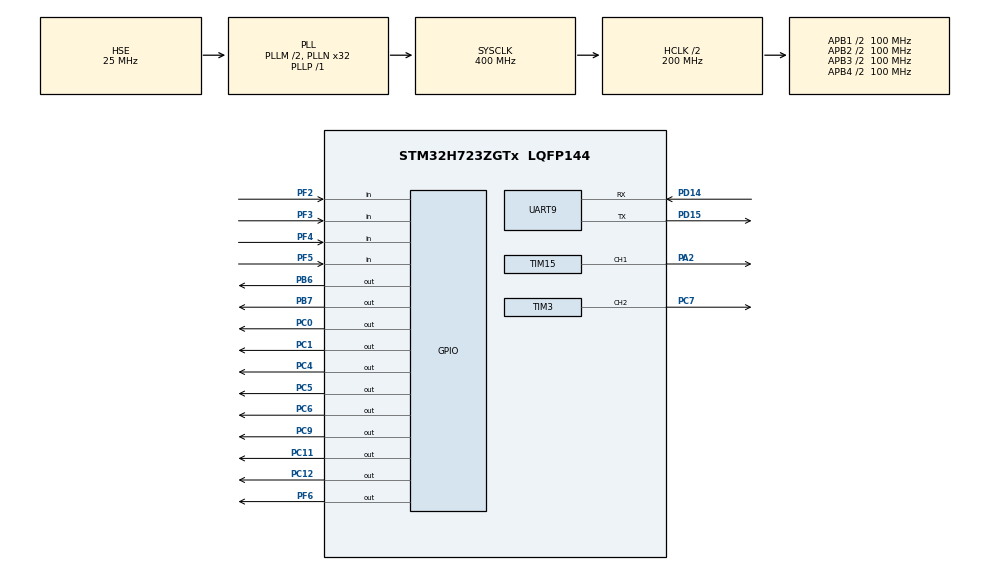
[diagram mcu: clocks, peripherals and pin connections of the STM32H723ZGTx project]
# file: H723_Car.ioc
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Mcu.Family=STM32H7
Mcu.Name=STM32H723ZGTx
Mcu.Package=LQFP144
NVIC.PriorityGroup=NVIC_PRIORITYGROUP_4
NVIC.TIM15_IRQn=true\:0\:0\:false\:false\:true\:true\:true\:true
NVIC.TIM23_IRQn=true\:0\:0\:true\:false\:true\:true\:true\:true
NVIC.TIM24_IRQn=true\:1\:0\:true\:false\:true\:true\:true\:true
NVIC.TIM3_IRQn=true\:0\:0\:false\:false\:true\:true\:true\:true
NVIC.UART9_IRQn=true\:0\:0\:false\:false\:true\:true\:true\:true
PA13(JTMS/SWDIO).Mode=Serial_Wire
PA13(JTMS/SWDIO).Signal=DEBUG_JTMS-SWDIO
PA14(JTCK/SWCLK).Mode=Serial_Wire
PA14(JTCK/SWCLK).Signal=DEBUG_JTCK-SWCLK
PA2.Signal=S_TIM15_CH1
PB6.Signal=GPIO_Output
PB7.PinState=GPIO_PIN_SET
PB7.Signal=GPIO_Output
PC0.Signal=GPIO_Output
PC1.PinState=GPIO_PIN_RESET
PC1.Signal=GPIO_Output
PC11.Signal=GPIO_Output
PC12.Signal=GPIO_Output
PC4.Signal=GPIO_Output
PC5.Signal=GPIO_Output
PC6.Signal=GPIO_Output
PC7.Signal=S_TIM3_CH2
PC9.PinState=GPIO_PIN_SET
PC9.Signal=GPIO_Output
PD14.Mode=Asynchronous
PD14.Signal=UART9_RX
PD15.Mode=Asynchronous
PD15.Signal=UART9_TX
PF2.Signal=GPIO_Input
PF3.Signal=GPIO_Input
PF4.Signal=GPIO_Input
PF5.Signal=GPIO_Input
PF6.Signal=GPIO_Output
PH0-OSC_IN.Mode=HSE-External-Oscillator
PH0-OSC_IN.Signal=RCC_OSC_IN
PH1-OSC_OUT.Mode=HSE-External-Oscillator
PH1-OSC_OUT.Signal=RCC_OSC_OUT
ProjectManager.HeapSize=0x200
ProjectManager.StackSize=0x400
ProjectManager.TargetToolchain=MDK-ARM V5.32
RCC.ADCFreq_Value=100000000
RCC.APB1Freq_Value=100000000
RCC.APB2Freq_Value=100000000
RCC.APB3Freq_Value=100000000
RCC.APB4Freq_Value=100000000
RCC.CortexFreq_Value=400000000
RCC.D1PPRE=RCC_APB3_DIV2
RCC.D2PPRE1=RCC_APB1_DIV2
RCC.D2PPRE2=RCC_APB2_DIV2
RCC.D3PPRE=RCC_APB4_DIV2
RCC.DIVM1=2
RCC.DIVM2=2
RCC.DIVN1=32
RCC.DIVN2=16
RCC.DIVP1=1
RCC.HCLKFreq_Value=200000000
RCC.HPRE=RCC_HCLK_DIV2
RCC.PLLFRACN=0
RCC.PLLSourceVirtual=RCC_PLLSOURCE_HSE
RCC.SYSCLKFreq_VALUE=400000000
RCC.SYSCLKSource=RCC_SYSCLKSOURCE_PLLCLK
RCC.USBFreq_Value=200000000
SH.S_TIM15_CH1.0=TIM15_CH1,PWM Generation1 CH1
SH.S_TIM3_CH2.0=TIM3_CH2,PWM Generation2 CH2
TIM15.AutoReloadPreload=TIM_AUTORELOAD_PRELOAD_ENABLE
TIM15.Channel-PWM\ Generation1\ CH1=TIM_CHANNEL_1
TIM15.Period=1000-1
TIM15.Prescaler=200-1
TIM23.Period=10000-1
TIM23.Prescaler=200-1
TIM24.Period=250000-1
TIM24.Prescaler=200-1
TIM3.AutoReloadPreload=TIM_AUTORELOAD_PRELOAD_ENABLE
TIM3.Channel-PWM\ Generation2\ CH2=TIM_CHANNEL_2
TIM3.Period=1000-1
TIM3.Prescaler=200-1
VP_TIM23_VS_ClockSourceINT.Mode=Internal
VP_TIM24_VS_ClockSourceINT.Mode=Internal
VP_TIM3_VS_ClockSourceINT.Mode=Internal
board=custom

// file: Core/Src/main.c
/* USER CODE BEGIN Header */
/**
 ******************************************************************************
 * @file           : main.c
 * @brief          : Main program body
 ******************************************************************************
 * @attention
 *
 * Copyright (c) 2025 STMicroelectronics.
 * All rights reserved.
 *
 * This software is licensed under terms that can be found in the LICENSE file
 * in the root directory of this software component.
 * If no LICENSE file comes with this software, it is provided AS-IS.
 *
 ******************************************************************************
 */
/* USER CODE END Header */
#include "main.h"
#include "tim.h"
#include "usart.h"
#include "gpio.h"

/* USER CODE BEGIN PTD */
MPU6050Params mpu6050 = {
    .MPU6050dt = 10,
    .preMillis = 0,
    .MPU6050ERROE = {0.0f, 0.0f, 0.0f, 0.0f, 0.0f, 0.0f}};

SensorMsg msg = {
    .A = {0.0f, 0.0f, 0.0f},
    .G = {0.0f, 0.0f, 0.0f}};

int16_t AX, AY, AZ, GX, GY, GZ;
float x, y, z;
float Yaw = 0;
float Pitch = 0;
float Roll = 0;
float Yaw_copy = 0;
float Pitch_copy = 0;
float Roll_copy = 0;
uint8_t Send_Flag = 0;
/* USER CODE END PTD */

/* USER CODE BEGIN PV */
// boot the MCU by semihosting
#if 1
#if (__ARMCC_VERSION >= 6010050)
__asm(".global __use_no_semihosting\n\t");
__asm(".global __ARM_use_no_argv \n\t");

#else
#pragma import(__use_no_semihosting)

struct __FILE
{
  int handle;
};

#endif

int _ttywrch(int ch)
{
  ch = ch;
  return ch;
}

void _sys_exit(int x)
{
  x = x;
}

char *_sys_command_string(char *cmd, int len)
{
  return NULL;
}

FILE __stdout;

int fputc(int ch, FILE *f)
{
  HAL_UART_Transmit(&huart9, (uint8_t *)&ch, 1, HAL_MAX_DELAY);
  return ch;
}
#endif
/* USER CODE END PV */

void SystemClock_Config(void);

int main(void)
{

  /* MCU Configuration--------------------------------------------------------*/

  /* Reset of all peripherals, Initializes the Flash interface and the Systick. */
  HAL_Init();

  /* Configure the system clock */
  SystemClock_Config();

  /* Initialize all configured peripherals */
  MX_GPIO_Init();
  MX_TIM24_Init();
  MX_TIM23_Init();
  MX_UART9_Init();
  MX_TIM3_Init();
  MX_TIM15_Init();
  /* USER CODE BEGIN 2 */
  DWT_Init();
  OLED_Init();
  // PID Initialization
  PID_InitAll();

  // menu Initialization
  init_menu_parents();

  // no MCU Gray Sensor Initialization
  // Init_ADC(&hadc1);
  // GraySensor_Init();

  // IMU Initialization
  Delay_ms(50);								 //time for IMU to ready
  MPU6050_Init();
  begin(1000.0f / (float)mpu6050.MPU6050dt); // Initialize the Madgwick filter with the sample frequency
  dataGetERROR();

  // Start the UART reception in interrupt mode
  Delay_ms(500);
  UART_StartReceiveIT();
  OLED_Init();
  OLED_Clear();
  Delay_ms(100);

  // Stepper Motor Initialization
  HAL_TIM_PWM_Start(&htim3, TIM_CHANNEL_2);
  HAL_TIM_PWM_Start(&htim15, TIM_CHANNEL_1);
  Stepper_Init(&StepperMotor_x, &htim15, TIM_CHANNEL_1, GPIOC, GPIO_PIN_6, 0, 320000);
  Stepper_Init(&StepperMotor_y, &htim3, TIM_CHANNEL_2, GPIOB, GPIO_PIN_6, 1, 500000);

  // Interrupt Initialization
  HAL_TIM_Base_Start_IT(&htim24);
  HAL_TIM_Base_Start_IT(&htim23);

  // Stepper Interrupt Initialization
  HAL_TIM_Base_Start_IT(&htim3);
  HAL_TIM_Base_Start_IT(&htim15);
  HAL_GPIO_WritePin(GPIOC, GPIO_PIN_1, GPIO_PIN_RESET); // Set the start pin to high

  // // 等待串口数据
  while (rect.y + rect.x == 0)
  {
    /* code */
    OLED_ShowString(0, 0, "waiting", OLED_8X16);
    OLED_Update();
    if (UART_GetPacket(&received_packet))
    {
      ParsePacket((char *)received_packet.data);
    }

    if (uwTick >= 60000)
    {
      break;
    }
  }
  OLED_Clear();

  /* USER CODE END 2 */

  /* Infinite loop */
  while (1)
  {

    /* USER CODE BEGIN 3 */
    OLED_Clear();
    /************get Euler angle data(start)************/
    if (uwTick - mpu6050.preMillis >= mpu6050.MPU6050dt)
    {
      mpu6050.preMillis = uwTick;
      dataGetAndFilter();
      updateIMU(msg.G[0], msg.G[1], msg.G[2], msg.A[0], msg.A[1], msg.A[2]);
    }
    Yaw = getYaw();
    Pitch = getPitch();
    Roll = getRoll();
    // 备份
    Pitch_copy = Pitch;
    Roll_copy = Roll;
    Yaw_copy = Yaw;
    /************get Euler angle data(end)************/

    if (UART_GetPacket(&received_packet))
    {
      // 处理完整数据包（如转发或解析
      ParsePacket((char *)received_packet.data);
    }

    menu_system();

    /************************************测试区域(start)************************************/
    // CalculateStepperSpeed(&StepperMotor_y, -(int32_t)(Yaw_a/2));
//    OLED_ShowFloatNum(0,0,Yaw_a,3,2,OLED_8X16);
//    OLED_ShowFloatNum(0,1*16,Pitch,3,2,OLED_8X16);
//    OLED_ShowFloatNum(0,2*16,Roll,3,2,OLED_8X16);
//    OLED_ShowFloatNum(0,3*16,Yaw,3,2,OLED_8X16);

    /************************************测试区域(end)**************************************/
    OLED_Update();
    // printf("Angle: %.2f, %.2f, %.2f\r\n", Yaw, Pitch, Roll);
  }
  /* USER CODE END 3 */
}

void SystemClock_Config(void)
{
  RCC_OscInitTypeDef RCC_OscInitStruct = {0};
  RCC_ClkInitTypeDef RCC_ClkInitStruct = {0};

  /** Supply configuration update enable
  */
  HAL_PWREx_ConfigSupply(PWR_LDO_SUPPLY);

  /** Configure the main internal regulator output voltage
  */
  __HAL_PWR_VOLTAGESCALING_CONFIG(PWR_REGULATOR_VOLTAGE_SCALE1);

  while(!__HAL_PWR_GET_FLAG(PWR_FLAG_VOSRDY)) {}

  /** Initializes the RCC Oscillators according to the specified parameters
  * in the RCC_OscInitTypeDef structure.
  */
  RCC_OscInitStruct.OscillatorType = RCC_OSCILLATORTYPE_HSE;
  RCC_OscInitStruct.HSEState = RCC_HSE_ON;
  RCC_OscInitStruct.PLL.PLLState = RCC_PLL_ON;
  RCC_OscInitStruct.PLL.PLLSource = RCC_PLLSOURCE_HSE;
  RCC_OscInitStruct.PLL.PLLM = 2;
  RCC_OscInitStruct.PLL.PLLN = 32;
  RCC_OscInitStruct.PLL.PLLP = 1;
  RCC_OscInitStruct.PLL.PLLQ = 2;
  RCC_OscInitStruct.PLL.PLLR = 2;
  RCC_OscInitStruct.PLL.PLLRGE = RCC_PLL1VCIRANGE_3;
  RCC_OscInitStruct.PLL.PLLVCOSEL = RCC_PLL1VCOWIDE;
  RCC_OscInitStruct.PLL.PLLFRACN = 0;
  if (HAL_RCC_OscConfig(&RCC_OscInitStruct) != HAL_OK)
  {
    Error_Handler();
  }

  /** Initializes the CPU, AHB and APB buses clocks
  */
  RCC_ClkInitStruct.ClockType = RCC_CLOCKTYPE_HCLK|RCC_CLOCKTYPE_SYSCLK
                              |RCC_CLOCKTYPE_PCLK1|RCC_CLOCKTYPE_PCLK2
                              |RCC_CLOCKTYPE_D3PCLK1|RCC_CLOCKTYPE_D1PCLK1;
  RCC_ClkInitStruct.SYSCLKSource = RCC_SYSCLKSOURCE_PLLCLK;
  RCC_ClkInitStruct.SYSCLKDivider = RCC_SYSCLK_DIV1;
  RCC_ClkInitStruct.AHBCLKDivider = RCC_HCLK_DIV2;
  RCC_ClkInitStruct.APB3CLKDivider = RCC_APB3_DIV2;
  RCC_ClkInitStruct.APB1CLKDivider = RCC_APB1_DIV2;
  RCC_ClkInitStruct.APB2CLKDivider = RCC_APB2_DIV2;
  RCC_ClkInitStruct.APB4CLKDivider = RCC_APB4_DIV2;

  if (HAL_RCC_ClockConfig(&RCC_ClkInitStruct, FLASH_LATENCY_2) != HAL_OK)
  {
    Error_Handler();
  }
}

/* USER CODE BEGIN 4 */
void dataGetERROR()
{
  for (uint8_t i = 0; i < 100; ++i)
  {
    getMPU6050Data();
    mpu6050.MPU6050ERROE[0] += msg.A[0];
    mpu6050.MPU6050ERROE[1] += msg.A[1];
    mpu6050.MPU6050ERROE[2] += msg.A[2] - 9.79;
    mpu6050.MPU6050ERROE[3] += msg.G[0];
    mpu6050.MPU6050ERROE[4] += msg.G[1];
    mpu6050.MPU6050ERROE[5] += msg.G[2];
    Delay_ms(10);
  }
  for (uint8_t i = 0; i < 6; ++i)
  {
    mpu6050.MPU6050ERROE[i] /= 100.0f;
  }
}

void getMPU6050Data()
{
  MPU6050_GetData(&AX, &AY, &AZ, &GX, &GY, &GZ); // Get data from MPU6050
  msg.A[0] = (float)((float)AX / (float)32768) * 16 * 9.8 * (90.0 / 75.0) * (180.0 / 38.8) * (90.0 / 155.3);
  msg.A[1] = (float)((float)AY / (float)32768) * 16 * 9.8 * (90.0 / 75.0) * (180.0 / 38.8) * (90.0 / 155.3);
  msg.A[2] = (float)((float)AZ / (float)32768) * 16 * 9.8 * (90.0 / 75.0) * (180.0 / 38.8) * (90.0 / 155.3);
  msg.G[0] = (float)((float)GX / (float)32768) * 2000 * 3.5 * (90.0 / 172.0) * (90.0 / 84.0) * (180.0 / 38.8) * (90.0 / 155.3);
  msg.G[1] = (float)((float)GY / (float)32768) * 2000 * 3.5 * (90.0 / 172.0) * (90.0 / 84.0) * (180.0 / 38.8) * (90.0 / 155.3);
  msg.G[2] = (float)((float)GZ / (float)32768) * 2000 * 3.5 * (90.0 / 172.0) * (90.0 / 84.0) * (180.0 / 38.8) * (90.0 / 155.3);
}

void dataGetAndFilter()
{
  getMPU6050Data();
  msg.A[0] -= mpu6050.MPU6050ERROE[0];
  msg.A[1] -= mpu6050.MPU6050ERROE[1];
  msg.A[2] -= mpu6050.MPU6050ERROE[2];
  msg.G[0] -= mpu6050.MPU6050ERROE[3];
  msg.G[1] -= mpu6050.MPU6050ERROE[4];
  msg.G[2] -= mpu6050.MPU6050ERROE[5];
}

/* USER CODE END 4 */

void Error_Handler(void)
{
  __disable_irq();
  while (1)
  {
  }
}
